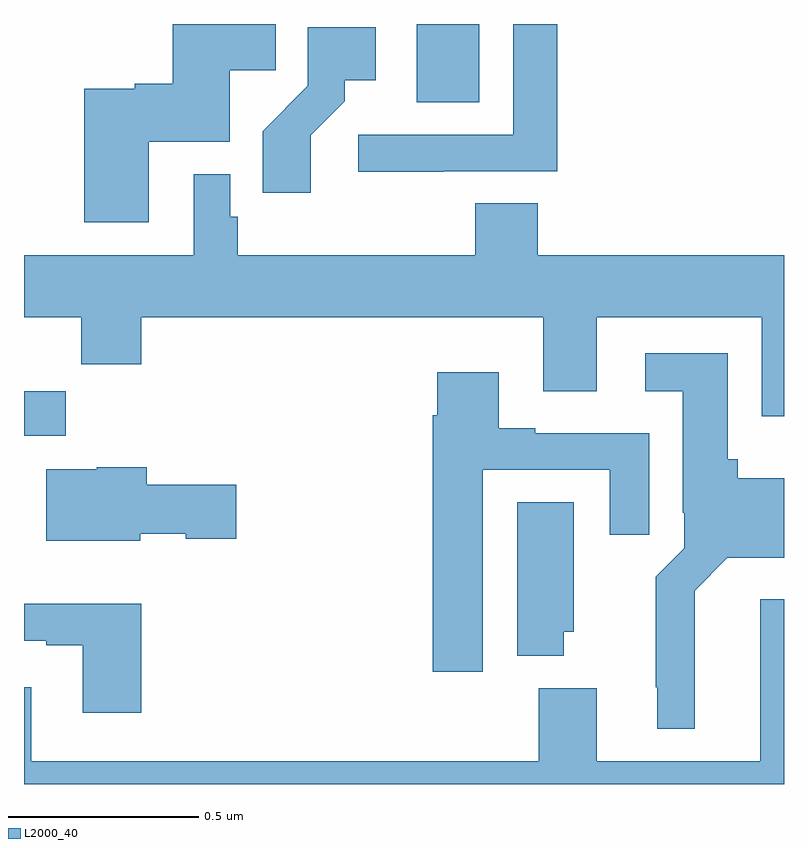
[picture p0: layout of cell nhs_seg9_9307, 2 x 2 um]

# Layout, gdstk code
import gdstk
lib = gdstk.Library(unit=1e-6, precision=1e-09)
def R(c, l, rs):  # rectangles x0, y0, x1, y1
    for r in rs: c.add(gdstk.rectangle(r[:2], r[2:], *l))
def P(c, l, *ps):  # polygons
    for p in ps: c.add(gdstk.Polygon(p, *l))
L2000_40 = (2000, 40)

nhs_seg9_9307 = lib.new_cell('nhs_seg9_9307')
R(nhs_seg9_9307, L2000_40, [(228,1221.416,228.11,1221.534), (229.034,1222.294,229.198,1222.5)])
P(nhs_seg9_9307, L2000_40, [(229.103,1222.113),(229.403,1222.113),(229.403,1222.5),(229.287,1222.5),(229.287,1222.209),(228.879,1222.209),(228.879,1222.111),(229.103,1222.111)],
  [(228.328,1222.19),(228.541,1222.19),(228.541,1222.378),(228.662,1222.378),(228.662,1222.5),(228.392,1222.5),(228.392,1222.343),(228.291,1222.343),(228.291,1222.33),(228.158,1222.33),(228.158,1221.978),(228.328,1221.978)],
  [(228.754,1222.207),(228.844,1222.297),(228.844,1222.352),(228.925,1222.352),(228.925,1222.492),(228.747,1222.492),(228.747,1222.337),(228.628,1222.218),(228.628,1222.056),(228.754,1222.056)],
  [(230,1221.892),(229.352,1221.892),(229.352,1222.028),(229.187,1222.028),(229.187,1221.892),(228.563,1221.892),(228.563,1221.993),(228.543,1221.993),(228.543,1222.105),(228.447,1222.105),(228.447,1221.892),(228,1221.892),(228,1221.728),(228.151,1221.728),(228.151,1221.604),(228.308,1221.604),(228.308,1221.728),(229.367,1221.728),(229.367,1221.534),(229.507,1221.534),(229.507,1221.728),(229.941,1221.728),(229.941,1221.468),(230,1221.468)],
  [(229.765,1221.008),(229.851,1221.095),(230,1221.095),(230,1221.304),(229.878,1221.304),(229.878,1221.354),(229.852,1221.354),(229.852,1221.634),(229.635,1221.634),(229.635,1221.533),(229.733,1221.533),(229.733,1221.214),(229.737,1221.214),(229.737,1221.12),(229.663,1221.046),(229.663,1220.755),(229.667,1220.755),(229.667,1220.645),(229.765,1220.645)],
  [(229.207,1221.327),(229.541,1221.327),(229.541,1221.156),(229.645,1221.156),(229.645,1221.423),(229.345,1221.423),(229.345,1221.436),(229.249,1221.436),(229.249,1221.583),(229.088,1221.583),(229.088,1221.47),(229.076,1221.47),(229.076,1220.796),(229.207,1220.796)],
  [(228.306,1221.158),(228.426,1221.158),(228.426,1221.146),(228.559,1221.146),(228.559,1221.288),(228.323,1221.288),(228.323,1221.334),(228.192,1221.334),(228.192,1221.328),(228.059,1221.328),(228.059,1221.14),(228.306,1221.14)],
  [(229.42,1220.901),(229.447,1220.901),(229.447,1221.242),(229.298,1221.242),(229.298,1220.837),(229.42,1220.837)],
  [(230,1220.986),(229.937,1220.986),(229.937,1220.56),(229.507,1220.56),(229.507,1220.752),(229.355,1220.752),(229.355,1220.56),(228.019,1220.56),(228.019,1220.755),(228,1220.755),(228,1220.5),(230,1220.5)],
  [(228.308,1220.974),(228,1220.974),(228,1220.877),(228.059,1220.877),(228.059,1220.865),(228.155,1220.865),(228.155,1220.688),(228.308,1220.688)])

lib.write_gds('nhs_seg9_9307.gds')
